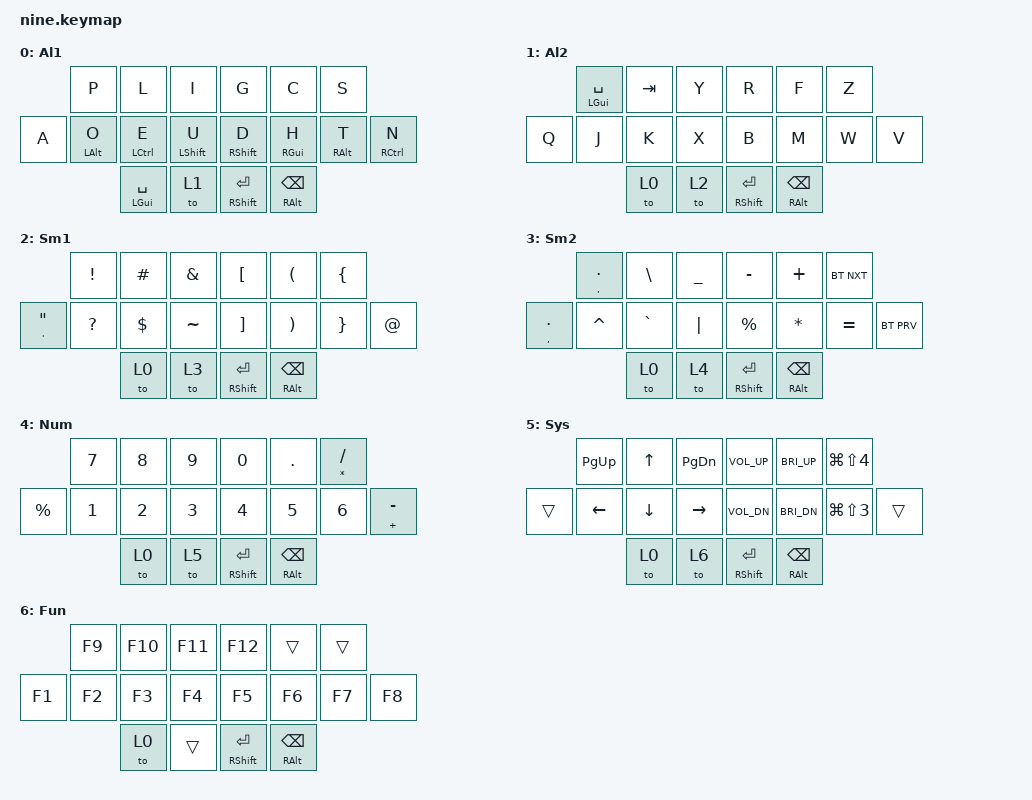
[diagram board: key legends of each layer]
/*
 * Copyright (c) 2020 The ZMK Contributors
 *
 * SPDX-License-Identifier: MIT
 */

#include <behaviors.dtsi>
#include <dt-bindings/zmk/keys.h>
#include <dt-bindings/zmk/bt.h>

&mt {
    tapping-term-ms = <200>;
    flavor = "tap-preferred";
};
&sk {
    release-after-ms = <2000>;
    quick-release;
};
 
/* Layers */
#define AL1 0
#define AL2 1
#define SM1 2
#define SM2 3
#define NUM 4
#define SYS 5
#define FUN 6
/ {
    combos {
      compatible = "zmk,combos";
      combo_BSPC {
				timeout-ms = <50>;
				key-positions = <1 2>;
				bindings = <&kp BSPC>;
			};
			combo_ENTER {
				timeout-ms = <50>;
				key-positions = <8 9>;
				bindings = <&kp ENTER>;
			};
			combo_COPY {
				timeout-ms = <50>;
				key-positions = <7 8>;
				bindings = <&kp LG(C)>;
			};
			combo_PASTE {
				timeout-ms = <50>;
				key-positions = <0 1>;
				bindings = <&kp LG(V)>;
			};
			combo_SAVE {
				timeout-ms = <50>;
				key-positions = <6 7>;
				bindings = <&kp LG(S)>;
			};
			combo_UNDO {
				timeout-ms = <50>;
				key-positions = <7 8 9>;
				bindings = <&kp LG(Z)>;
			};
			combo_REDO {
				timeout-ms = <50>;
				key-positions = <0 1 2>;
				bindings = <&kp LG(LS(Z))>;
			};
    };

  	behaviors {
        hm_l: homerow_mods_left {
            compatible = "zmk,behavior-hold-tap";
            label = "HOMEROW_MODS_L";
            #binding-cells = <2>;
            tapping-term-ms = <200>;
            quick-tap-ms = <250>;
            flavor = "tap-preferred";
            bindings = <&kp>, <&kp>;
            hold-trigger-key-positions = <3 4 5 10 11 12 13 14>; // right hand
        };
        hm_r: homerow_mods_right {
            compatible = "zmk,behavior-hold-tap";
            label = "HOMEROW_MODS_R";
            #binding-cells = <2>;
            tapping-term-ms = <200>;
            quick-tap-ms = <250>;
            flavor = "tap-preferred";
            bindings = <&kp>, <&kp>;
        		hold-trigger-key-positions = <0 1 2 6 7 8 9>; // left hand
        };
    		td: tapdance {
            compatible = "zmk,behavior-hold-tap";
            label = "TAPDANCE";
            #binding-cells = <2>;
            tapping-term-ms = <150>;
            quick-tap-ms = <250>;
            flavor = "tap-preferred";
            bindings = <&kp>, <&kp>;
        };
  	};
//                  0       1       2                   3       4           5
//          6       7       8       9                   10      11          12          13
//                          14      15                  16      17
       keymap {
                compatible = "zmk,keymap";

                alpha1 {
        label = "Al1";
        bindings = <
                      &kp P						&kp L							&kp I                		&kp G								&kp C						&kp S
            &kp A 		&hm_l LALT O		&hm_l LCTRL E     &hm_l LSHIFT U          &hm_r RSHIFT D    	&hm_r RGUI H		&hm_r RALT T     &hm_r RCTRL N
                                    	&mt LGUI SPACE		&to 1                 	&mt RSHIFT ENTER  	&mt RALT BSPC
        >;
        };
                alpha2 {
        label = "Al2";
        bindings = <
                    &mt LGUI SPACE      &kp TAB     &kp Y               &kp R       				&kp F         &kp Z
        &kp Q       &kp J       				&kp K       &kp X               &kp B       				&kp M         &kp W       &kp V
                                				&to 0      	&to 2               &mt RSHIFT ENTER  	&mt RALT BSPC
        >;
        };

                sm1 {
        label = "Sm1";
        bindings = <
                    		&kp EXCL    	&kp HASH  	&kp AMPS                      &kp LBKT   					&kp LPAR     &kp LBRC
        &td SQT DQT   	&kp QMARK    	&kp DLLR   	&kp TILDE                     &kp RBKT       			&kp RPAR     &kp RBRC    &kp AT
                                			&to 0      	&to 3                      		&mt RSHIFT ENTER		&mt RALT BSPC
        >;
        };

        				sm2 {
        label = "Sm2";
        bindings = <
                    			&td COMMA DOT    	&kp BSLH        &kp UNDER               &kp MINUS    				&kp PLUS    &bt BT_NXT
        &td COMMA DOT    	&kp CARET   			&kp GRAVE       &kp PIPE             		&kp PRCNT    				&kp STAR    &kp EQUAL    &bt BT_PRV
                                &to 0      			&to 4                   &mt RSHIFT ENTER  	&mt RALT BSPC
        >;
        };

        				num {
        label = "Num";
        bindings = <
                    &kp N7      	&kp N8   				&kp N9       				&kp N0   						&kp DOT    		&mt STAR SLASH
        &kp PRCNT   &kp N1       	&kp N2          &kp N3              &kp N4          		&kp N5       	&kp N6       &mt PLUS MINUS
                                  &to 0      			&to 5               &mt RSHIFT ENTER  	&mt RALT BSPC
        >;
        };

        				sys {
        label = "Sys";
        bindings = <
                	&kp PG_UP       &kp UP    		&kp PG_DN         &kp C_VOL_UP     		&kp C_BRI_UP    	&kp LG(LS(N4))
        &trans   	&kp LEFT        &kp DOWN   		&kp RIGHT         &kp C_VOL_DN     		&kp C_BRI_DN  		&kp LG(LS(N3))   &trans
                                  &to 0      		&to 6           	&mt RSHIFT ENTER  	&mt RALT BSPC
        >;
        };

        				fun {
        label = "Fun";
        bindings = <
                	&kp F9   	&kp F10   &kp F11          &kp F12   					&trans   				&trans
     		&kp F1    &kp F2   	&kp F3    &kp F4           &kp F5   					&kp F6   				&kp F7  &kp F8
                          	&to 0     &trans           &mt RSHIFT ENTER  	&mt RALT BSPC
        >;
        };
    };
};
